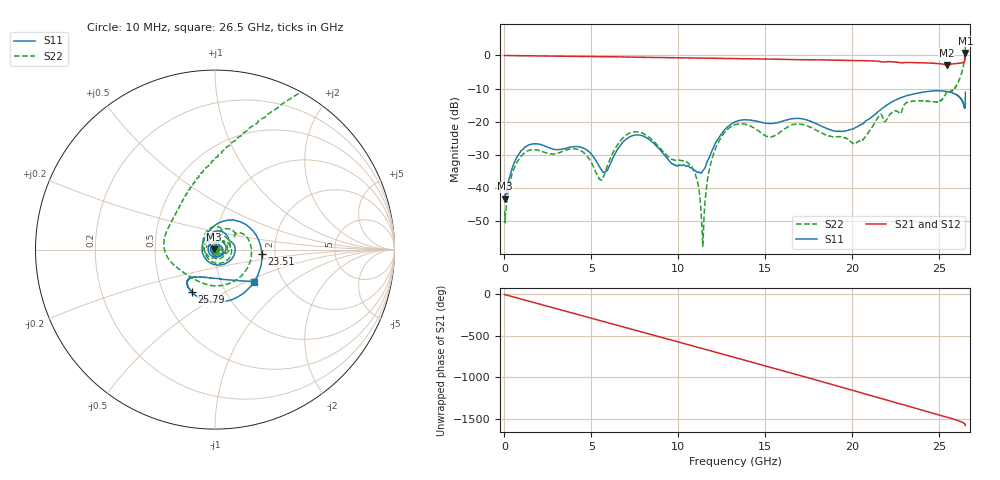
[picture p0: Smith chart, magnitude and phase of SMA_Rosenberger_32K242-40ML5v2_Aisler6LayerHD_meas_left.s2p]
# GHz S MA R 50
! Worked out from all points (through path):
!   2650 points, 10 MHz to 26.5 GHz, reference 50 ohm
!   highest |S21| = 0.77 dB at 26.5 GHz (marker M1); lowest = -3.0 dB at 25.44 GHz (marker M2)
!   group delay of S21, straight-line fit = 162 ps
!   lowest |S11| = -43.2 dB at 10 MHz (marker M3), VSWR 1.01, Z = 49.3 + j0.0639 ohm
!   |S11| at or under -10 dB: start of sweep to end of sweep
!   |S22| runs from -57.5 to 4.5 dB; largest |S21 - S12| = 1.4e-15
!   S11 on the Smith chart (normalised r, x): 10 MHz: 0.99, +0.00; 23.51 GHz: 1.70, -0.09; 25.79 GHz: 0.70, -0.36; 26.5 GHz: 1.42, -0.55
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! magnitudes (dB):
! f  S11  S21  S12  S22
! 10 MHz  -43.2  0.0  0.0  -46.8
! 510 MHz  -33.0  0.0  0.0  -34.6
! 1.18 GHz  -27.6  -0.1  -0.1  -29.3
! 4.43 GHz  -27.7  -0.3  -0.3  -28.9
! 5.54 GHz  -34.2  -0.4  -0.4  -37.4
! 7.1 GHz  -24.8  -0.5  -0.5  -23.7
! 8.84 GHz  -27.8  -0.6  -0.6  -27.3
! 10.81 GHz  -34.1  -0.8  -0.8  -34.0
! 11.11 GHz  -35.3  -0.8  -0.8  -38.3
! 11.4 GHz  -34.8  -0.8  -0.8  -57.5
! 11.71 GHz  -31.4  -0.8  -0.8  -36.1
! 12.03 GHz  -27.6  -0.8  -0.8  -29.6
! 13.26 GHz  -20.0  -1.0  -1.0  -20.8
! 15.24 GHz  -20.5  -1.1  -1.1  -24.6
! 17.67 GHz  -20.0  -1.3  -1.3  -21.8
! 20.14 GHz  -21.9  -1.5  -1.5  -26.8
! 22.09 GHz  -14.6  -1.9  -1.9  -18.3
! 23.51 GHz  -11.6  -2.1  -2.1  -13.7
! 25.44 GHz  -10.8  -3.0  -3.0  -11.0
! 25.79 GHz  -11.4  -2.5  -2.5  -10.4
! 26.24 GHz  -13.1  -2.3  -2.3  -6.0
! 26.5 GHz  -11.1  0.8  0.8  4.5
